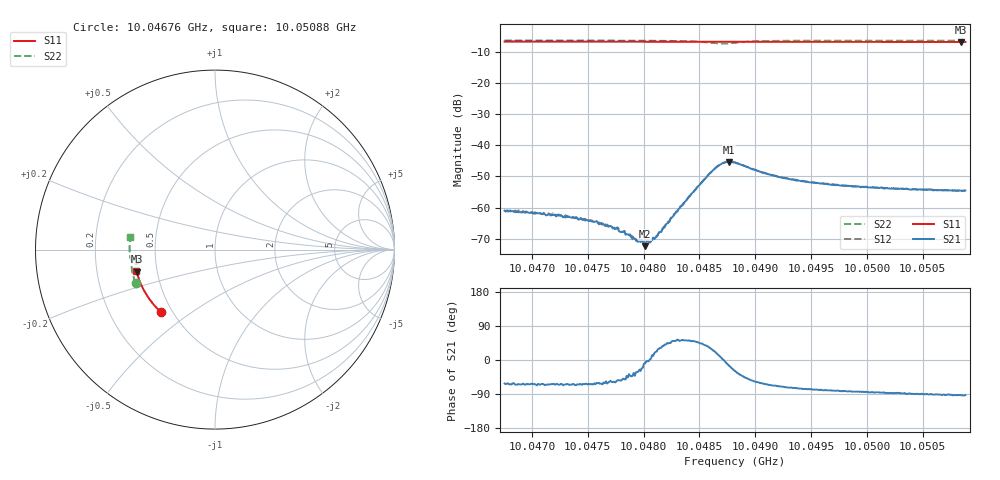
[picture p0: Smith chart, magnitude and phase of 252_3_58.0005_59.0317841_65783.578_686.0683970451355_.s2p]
#  HZ  S  RI  R  50.00
! Rohde & Schwarz Vector Network Analyzer
! Rohde-Schwarz,ZNB20-2Port,1311601062101988,3.16
! Created: UTC 3/21/2024, 1:01:37 AM
! freq[Hz]  re:S11  im:S11  re:S21  im:S21  re:S12  im:S12  re:S22  im:S22
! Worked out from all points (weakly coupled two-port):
!   401 points, 10.04676 GHz to 10.05088 GHz, reference 50 ohm
!   highest |S21| = -45.33 dB at 10.04877 GHz (marker M1); lowest = -72.4 dB at 10.04801 GHz (marker M2)
!   lowest |S11| = -6.9 dB at 10.05084 GHz (marker M3), VSWR 2.66, Z = 19.1 - j5.9 ohm
!   |S11| at or under -10 dB: nowhere
!   |S22| runs from -7.4 to -6.4 dB; largest |S21 - S12| = 0.00036
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1.0046755e10  -0.2997 -0.3501  0.000419 -0.000789  0.000443 -0.00078  -0.4416 -0.187
1.0047044e10  -0.3135 -0.3369  0.000325 -0.000751  0.000417 -0.000736  -0.4485 -0.1683
1.004725e10  -0.323 -0.327  0.000321 -0.000693  0.00036 -0.000649  -0.4527 -0.1549
1.0047446e10  -0.3319 -0.3176  0.000267 -0.000584  0.000336 -0.00057  -0.4566 -0.1418
1.004757e10  -0.3372 -0.3115  0.000263 -0.000535  0.00031 -0.000505  -0.4586 -0.1333
1.0047756e10  -0.3451 -0.3021  0.000261 -0.000388  0.000269 -0.00038  -0.4616 -0.1202
1.004788e10  -0.3503 -0.2956  0.000275 -0.000247  0.000253 -0.000246  -0.463 -0.1109
1.0047952e10  -0.3533 -0.2919  0.000243 -0.000144  0.000253 -0.000132  -0.464 -0.1052
1.0048014e10  -0.3558 -0.2887  0.000237 -3.69e-05  0.000303 -4.09e-05  -0.4644 -0.1004
1.0048066e10  -0.3578 -0.2859  0.000285 1.64e-05  0.000288 3.12e-05  -0.4646 -0.0963
1.0048138e10  -0.3607 -0.2823  0.000344 0.000195  0.000329 0.00023  -0.465 -0.0901
1.0048344e10  -0.3686 -0.2709  0.000658 0.000863  0.000615 0.000887  -0.463 -0.071
1.0048602e10  -0.3778 -0.2567  0.00315 0.00183  0.00308 0.00203  -0.4396 -0.0485
1.0048685e10  -0.3805 -0.2523  0.0048 0.000784  0.0048 0.00109  -0.4255 -0.0557
1.0048767e10  -0.3832 -0.2478  0.00522 -0.00144  0.00533 -0.00114  -0.4255 -0.0727
1.0048819e10  -0.385 -0.245  0.00461 -0.00258  0.00477 -0.00229  -0.4335 -0.0789
1.004918e10  -0.397 -0.2244  0.00122 -0.00296  0.00138 -0.00292  -0.4687 -0.0547
1.004951e10  -0.407 -0.205  0.000542 -0.00249  0.000707 -0.00244  -0.4746 -0.0272
1.0049779e10  -0.4141 -0.1889  0.000314 -0.00222  0.000468 -0.00222  -0.4759 -0.00739
1.0050202e10  -0.4243 -0.1631  9.38e-05 -0.00203  0.00022 -0.00204  -0.4756 0.0226
1.0050841e10  -0.4365 -0.1227  -8.62e-05 -0.00187  4.72e-05 -0.00188  -0.4713 0.0658
1.0050883e10  -0.4374 -0.1203  -8.15e-05 -0.00188  -1.35e-05 -0.00186  -0.4709 0.0686
